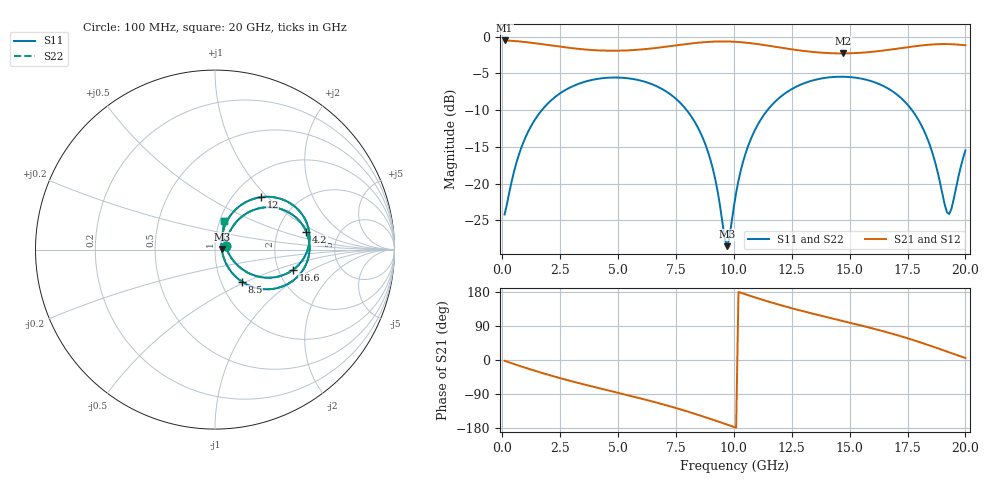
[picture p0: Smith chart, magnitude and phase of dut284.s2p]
! Touchstone file exported from HFSS 2026.1.0
!  File:  C:/ffzhzh/LocalFiles/Ansys_Project_Files/temp_train_TSV_RDL_284_1783086359_20200.aedt
!  Generated:  09:59:43 PM Jul  3, 2026
!  Design:  TSV_RDL
!  Project:  temp_train_TSV_RDL_284_1783086359_20200
! Variables:
!  h_bsmrdl = 5.2um
!  h_ox = 20um
!  h_rdl = 5um
!  h_sub = 51.74um
!  h_tmrdl = 2.27um
!  h_tsv = 51.74um
!  h_via = 3um
!  l_bsmrdl = 668.41um
!  l_sub = 6037.83um
!  l_tmrdl = 885.92um
!  m_sub = 200um
!  pitch = 33.06um
!  r_tsv = 6.91um
!  s_tmrdl = 10um
!  w_bsmrdl = 19.25um
!  w_sub = 500um
!  w_tmrdl = 10.39um
!  x_tsv_center1 = 891.115um
!  x_tsv_center2 = 1578.775um
!  x_tsv_center3 = 2475.085um
!  x_tsv_center4 = 3162.745um
!  x_tsv_center5 = 4059.055um
!  x_tsv_center6 = 4746.715um
# GHz S MA R 50.000000
! Terminal data exported
! Port[1] = TM_RDL1_1_T1
! Port[2] = TM_RDL5_1_T1
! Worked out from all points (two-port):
!   200 points, 100 MHz to 20 GHz, reference 50 ohm
!   highest |S21| = -0.52 dB at 100 MHz (marker M1); lowest = -2.3 dB at 14.7 GHz (marker M2)
!   |S21| within 3 dB of the highest: start of sweep to end of sweep
!   lowest |S11| = -28.5 dB at 9.7 GHz (marker M3), VSWR 1.08, Z = 53.9 + j0.396 ohm
!   |S11| at or under -10 dB: start of sweep to 1.707 GHz; 7.964 GHz to 11.45 GHz (3.488 GHz wide, 35.9 % of centre); 17.69 GHz to end of sweep
!   |S22| runs from -28.4 to -5.4 dB; largest |S21 - S12| = 1.6e-14
!   S11 on the Smith chart (normalised r, x): 100 MHz: 1.12, +0.04; 4.2 GHz: 2.92, +0.79; 8.5 GHz: 1.25, -0.47; 12 GHz: 1.33, +0.91; 16.6 GHz: 2.41, -0.67; 20 GHz: 1.05, +0.35
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0.1  0.06179 18.4  0.9419 -2.2  0.9419 -2.2  0.06179 18.4
! Gamma 0 0 0 0
! Port Impedance 50 0 50 0
0.7  0.1546 52.1  0.9286 -14.6  0.9286 -14.6  0.1546 52.1
1.3  0.2556 49.7  0.9066 -26.4  0.9066 -26.4  0.2556 49.7
2.2  0.3794 38.5  0.8672 -42.8  0.8672 -42.8  0.3795 38.5
3.5  0.4901 20.5  0.8195 -64.1  0.8195 -64.1  0.4901 20.5
4.2  0.5186 11.0  0.8056 -74.7  0.8056 -74.7  0.5186 11.0
5.5  0.5193 -6.6  0.8075 -94.1  0.8075 -94.1  0.5194 -6.6
6.8  0.4492 -25.2  0.8434 -114.6  0.8434 -114.6  0.4493 -25.2
7.8  0.3393 -40.3  0.8844 -132.2  0.8844 -132.2  0.3394 -40.3
8.5  0.232 -50.1  0.9106 -145.6  0.9106 -145.6  0.2321 -50.1
9.1  0.1251 -53.5  0.9248 -157.8  0.9248 -157.8  0.1252 -53.5
9.7  0.03762 5.6  0.9272 -170.2  0.9272 -170.2  0.0378 5.5
10.1  0.08701 63.5  0.9215 -178.5  0.9215 -178.5  0.08706 63.4
10.8  0.2127 65.5  0.8994 167.4  0.8994 167.4  0.2128 65.4
12  0.3878 48.9  0.8427 145.1  0.8427 145.1  0.3879 48.8
13.4  0.5033 28.8  0.7869 122.3  0.7869 122.3  0.5034 28.8
14.7  0.5338 11.4  0.769 103.0  0.769 103.0  0.5339 11.3
16.6  0.4496 -14.4  0.8097 73.5  0.8097 73.5  0.4497 -14.5
16.7  0.4403 -15.8  0.8136 71.8  0.8136 71.8  0.4404 -15.9
18.2  0.2316 -34.7  0.8745 43.6  0.8745 43.6  0.2316 -35.0
19.3  0.06219 22.7  0.8895 20.3  0.8895 20.3  0.06133 22.5
20  0.1685 72.0  0.8734 5.2  0.8734 5.2  0.168 72.2
